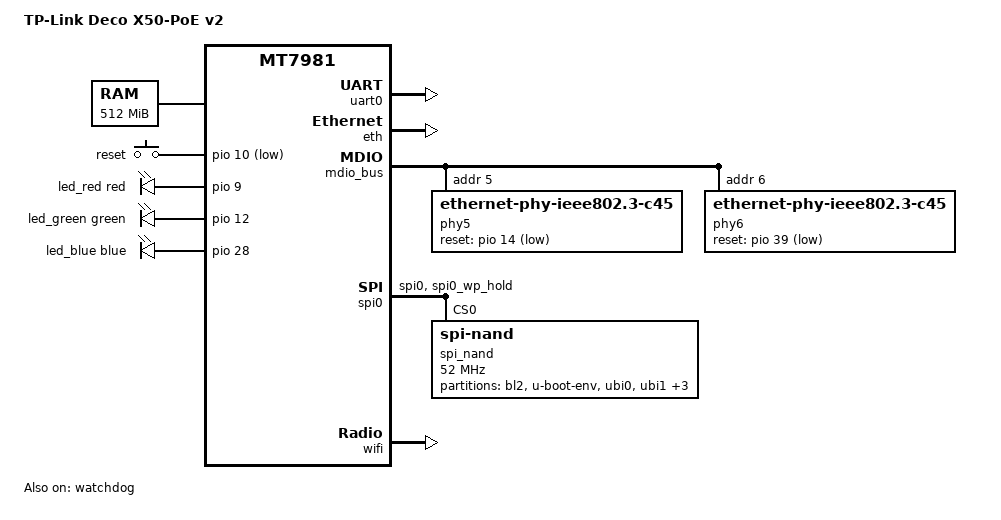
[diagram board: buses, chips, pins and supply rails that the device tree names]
// SPDX-License-Identifier: GPL-2.0-or-later OR MIT
/*
 * Copyright (C) 2024 TP-Link Technologies Co., Ltd.
 *
 * TP-Link Deco X50-PoE v2
 * SoC:   MediaTek MT7981B (Filogic 820)
 * RAM:   512 MB DDR3
 * Flash: 128 MB SPI-NAND
 * ETH:   2x 2.5 GbE (Realtek RTL8221B-VB-CG via SGMII, MDIO addr 5 & 6)
 * WiFi:  MT7976 2.4 GHz + 5 GHz (built-in)
 * LEDs:  Red (GPIO 9), Green (GPIO 12), Blue (GPIO 28)
 * BTN:   Reset (GPIO 10)
 */

/dts-v1/;
#include <dt-bindings/gpio/gpio.h>
#include <dt-bindings/input/input.h>
#include <dt-bindings/leds/common.h>

#include "mt7981b.dtsi"

/ {
	model = "TP-Link Deco X50-PoE v2";
	compatible = "tplink,deco-x50-poe-v2", "mediatek,mt7981";

	aliases {
		led-boot = &led_green;
		led-failsafe = &led_red;
		led-running = &led_green;
		led-upgrade = &led_blue;
		label-mac-device = &gmac0;
		serial0 = &uart0;
	};

	chosen {
		stdout-path = "serial0:115200n8";
	};

	memory@40000000 {
		reg = <0 0x40000000 0 0x20000000>;
		device_type = "memory";
	};

	gpio-keys {
		compatible = "gpio-keys";

		button-reset {
			label = "reset";
			linux,code = <KEY_RESTART>;
			gpios = <&pio 10 GPIO_ACTIVE_LOW>;
		};
	};

	leds {
		compatible = "gpio-leds";

		led_red: led-0 {
			function = LED_FUNCTION_STATUS;
			color = <LED_COLOR_ID_RED>;
			gpios = <&pio 9 GPIO_ACTIVE_HIGH>;
		};

		led_green: led-1 {
			function = LED_FUNCTION_STATUS;
			color = <LED_COLOR_ID_GREEN>;
			gpios = <&pio 12 GPIO_ACTIVE_HIGH>;
		};

		led_blue: led-2 {
			function = LED_FUNCTION_STATUS;
			color = <LED_COLOR_ID_BLUE>;
			gpios = <&pio 28 GPIO_ACTIVE_HIGH>;
		};
	};
};

&uart0 {
	status = "okay";
};

&watchdog {
	status = "okay";
};

&eth {
	pinctrl-names = "default";
	pinctrl-0 = <&mdio_pins>;
	status = "okay";

	gmac0: mac@0 {
		compatible = "mediatek,eth-mac";
		reg = <0>;
		phy-mode = "2500base-x";
		nvmem-cells = <&macaddr_factory_4>;
		nvmem-cell-names = "mac-address";
		phy-handle = <&phy6>;
	};

	gmac1: mac@1 {
		compatible = "mediatek,eth-mac";
		reg = <1>;
		phy-mode = "2500base-x";
		nvmem-cells = <&macaddr_factory_2a>;
		nvmem-cell-names = "mac-address";
		phy-handle = <&phy5>;
	};
};

&mdio_bus {
	/* PHY5: LAN port — gmac1, reset on GPIO 14
	 * RTL8221B-VB-CG needs ≥100ms after reset deassert for C45 PMA
	 * registers to be populated (genphy_c45_pma_read_abilities).
	 */
	phy5: ethernet-phy@5 {
		reg = <5>;
		compatible = "ethernet-phy-ieee802.3-c45";
		reset-gpios = <&pio 14 GPIO_ACTIVE_LOW>;
		reset-assert-us = <10000>;
		reset-deassert-us = <100000>;
	};

	/* PHY6: WAN port — gmac0, reset on GPIO 39 */
	phy6: ethernet-phy@6 {
		reg = <6>;
		compatible = "ethernet-phy-ieee802.3-c45";
		reset-gpios = <&pio 39 GPIO_ACTIVE_LOW>;
		reset-assert-us = <10000>;
		reset-deassert-us = <100000>;
	};
};

&sgmiisys0 {
	/delete-property/ mediatek,pnswap;
};

&spi0 {
	pinctrl-names = "default";
	pinctrl-0 = <&spi0_flash_pins>;
	status = "okay";

	spi_nand@0 {
		compatible = "spi-nand";
		reg = <0>;
		spi-max-frequency = <52000000>;
		spi-tx-bus-width = <4>;
		spi-rx-bus-width = <4>;

		partitions {
			compatible = "fixed-partitions";
			#address-cells = <1>;
			#size-cells = <1>;

			partition@0 {
				label = "bl2";
				reg = <0x000000 0x200000>;
				read-only;
			};

			partition@200000 {
				label = "u-boot-env";
				reg = <0x200000 0x100000>;
			};

			partition@300000 {
				label = "ubi0";
				reg = <0x300000 0x2a00000>;
				compatible = "linux,ubi";
			};

			partition@2d00000 {
				label = "ubi1";
				reg = <0x2d00000 0x2a00000>;
				read-only;
			};

			factory: partition@5700000 {
				label = "factory";
				reg = <0x5700000 0x100000>;
				compatible = "nvmem-cells";
				#address-cells = <1>;
				#size-cells = <1>;

				macaddr_factory_4: macaddr@4 {
					reg = <0x4 0x6>;
				};

				macaddr_factory_2a: macaddr@2a {
					reg = <0x2a 0x6>;
				};
			};

			partition@5800000 {
				label = "factory_data";
				reg = <0x5800000 0x900000>;
				read-only;
			};

			partition@6100000 {
				label = "runtime_data";
				reg = <0x6100000 0x1f00000>;
				read-only;
			};
		};
	};
};

&pio {
	spi0_flash_pins: spi0-pins {
		mux {
			function = "spi";
			groups = "spi0", "spi0_wp_hold";
		};
	};
};

&wifi {
	status = "okay";
};
